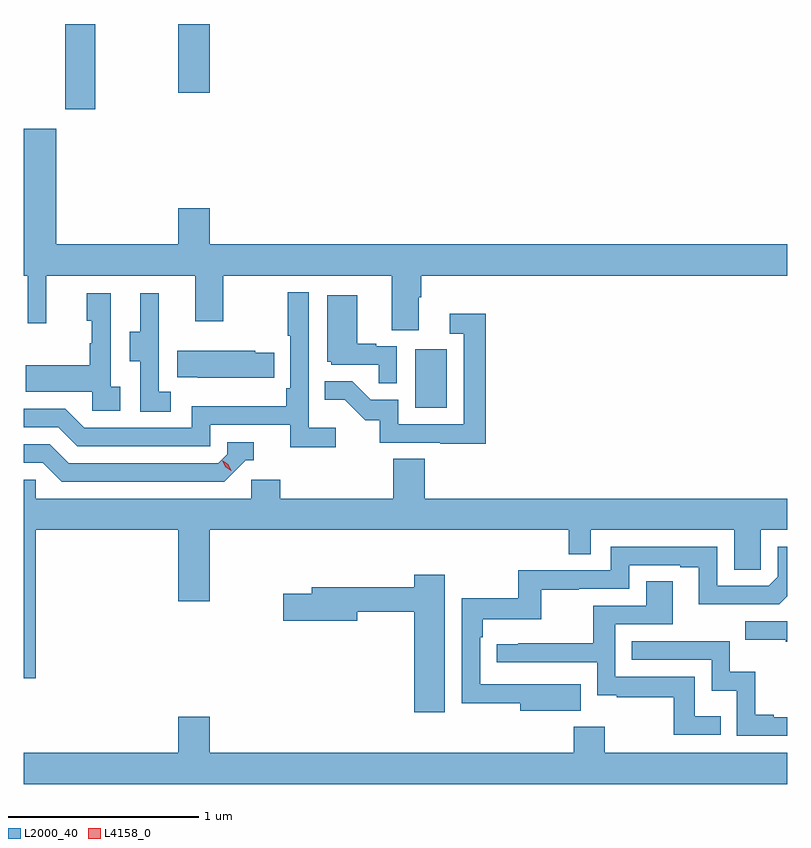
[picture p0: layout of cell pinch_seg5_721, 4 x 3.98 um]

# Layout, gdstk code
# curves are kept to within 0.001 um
import gdstk
lib = gdstk.Library(unit=1e-6, precision=1e-09)
def R(c, l, rs):  # rectangles x0, y0, x1, y1
    for r in rs: c.add(gdstk.rectangle(r[:2], r[2:], *l))
def P(c, l, *ps):  # polygons
    for p in ps: c.add(gdstk.Polygon(p, *l))
L2000_40 = (2000, 40)
L4158_0 = (4158, 0)

pinch_seg5_721 = lib.new_cell('pinch_seg5_721')
R(pinch_seg5_721, L2000_40, [(1113.302,850.74,1113.466,851.047), (1111.468,852.303,1111.623,852.751), (1112.06,852.39,1112.224,852.751)])
P(pinch_seg5_721, L2000_40, [(1113.319,851.32),(1113.332,851.32),(1113.332,851.432),(1115.25,851.432),(1115.25,851.596),(1112.224,851.596),(1112.224,851.785),(1112.06,851.785),(1112.06,851.596),(1111.42,851.596),(1111.42,852.202),(1111.25,852.202),(1111.25,851.432),(1111.269,851.432),(1111.269,851.184),(1111.367,851.184),(1111.367,851.432),(1112.147,851.432),(1112.147,851.193),(1112.295,851.193),(1112.295,851.432),(1113.179,851.432),(1113.179,851.146),(1113.319,851.146)],
  [(1112.884,850.636),(1112.742,850.636),(1112.742,851.344),(1112.634,851.344),(1112.634,851.116),(1112.646,851.116),(1112.646,850.843),(1112.626,850.843),(1112.626,850.747),(1112.13,850.747),(1112.13,850.635),(1111.566,850.635),(1111.467,850.734),(1111.25,850.734),(1111.25,850.638),(1111.43,850.638),(1111.529,850.539),(1112.226,850.539),(1112.226,850.65),(1112.645,850.65),(1112.645,850.534),(1112.884,850.534)],
  [(1112.02,850.823),(1111.956,850.823),(1111.956,851.127),(1111.958,851.127),(1111.958,851.341),(1111.859,851.341),(1111.859,851.139),(1111.805,851.139),(1111.805,850.984),(1111.86,850.984),(1111.86,850.72),(1112.02,850.72)],
  [(1111.756,850.85),(1111.704,850.85),(1111.704,851.341),(1111.58,851.341),(1111.58,851.196),(1111.606,851.196),(1111.606,851.078),(1111.596,851.078),(1111.596,850.963),(1111.261,850.963),(1111.261,850.823),(1111.608,850.823),(1111.608,850.725),(1111.756,850.725)],
  [(1113.204,851.061),(1113.098,851.061),(1113.098,851.074),(1112.998,851.074),(1112.998,851.329),(1112.84,851.329),(1112.84,850.98),(1112.862,850.98),(1112.862,850.965),(1113.109,850.965),(1113.109,850.867),(1113.204,850.867)],
  [(1113.671,851.233),(1113.483,851.233),(1113.483,851.127),(1113.555,851.127),(1113.555,850.653),(1113.213,850.653),(1113.213,850.782),(1113.069,850.782),(1112.971,850.88),(1112.827,850.88),(1112.827,850.781),(1112.931,850.781),(1113.038,850.674),(1113.115,850.674),(1113.115,850.557),(1113.433,850.557),(1113.433,850.552),(1113.671,850.552)],
  [(1112.561,851.028),(1112.463,851.028),(1112.463,851.038),(1112.053,851.038),(1112.053,850.901),(1112.161,850.901),(1112.161,850.898),(1112.561,850.898)],
  [(1112.412,850.464),(1112.455,850.464),(1112.455,850.56),(1112.316,850.56),(1112.316,850.497),(1112.268,850.449),(1111.485,850.449),(1111.386,850.548),(1111.25,850.548),(1111.25,850.452),(1111.349,850.452),(1111.448,850.353),(1112.301,850.353)],
  [(1111.313,850.1),(1112.06,850.1),(1112.06,849.726),(1112.224,849.726),(1112.224,850.1),(1114.105,850.1),(1114.105,849.973),(1114.221,849.973),(1114.221,850.1),(1114.973,850.1),(1114.973,849.892),(1115.112,849.892),(1115.112,850.1),(1115.25,850.1),(1115.25,850.264),(1113.35,850.264),(1113.35,850.472),(1113.185,850.472),(1113.185,850.264),(1112.594,850.264),(1112.594,850.362),(1112.442,850.362),(1112.442,850.264),(1111.311,850.264),(1111.311,850.362),(1111.25,850.362),(1111.25,849.321),(1111.313,849.321)],
  [(1114.169,849.292),(1113.642,849.291),(1113.642,849.536),(1113.656,849.536),(1113.656,849.632),(1113.961,849.632),(1113.961,849.787),(1114.157,849.787),(1114.157,849.792),(1114.422,849.792),(1114.422,849.915),(1114.691,849.915),(1114.691,849.903),(1114.787,849.903),(1114.787,849.71),(1115.208,849.711),(1115.25,849.753),(1115.25,850.011),(1115.202,850.011),(1115.202,849.855),(1115.154,849.807),(1114.884,849.807),(1114.884,850.011),(1114.326,850.011),(1114.326,849.888),(1113.84,849.888),(1113.84,849.742),(1113.546,849.742),(1113.546,849.19),(1113.851,849.19),(1113.851,849.152),(1114.169,849.152)],
  [(1113.457,849.865),(1113.296,849.865),(1113.296,849.799),(1112.759,849.799),(1112.759,849.765),(1112.61,849.765),(1112.61,849.623),(1112.998,849.623),(1112.998,849.67),(1113.296,849.67),(1113.296,849.144),(1113.457,849.144)],
  [(1114.901,849.124),(1114.767,849.124),(1114.767,849.33),(1114.35,849.33),(1114.35,849.606),(1114.651,849.606),(1114.651,849.83),(1114.511,849.83),(1114.511,849.702),(1114.234,849.702),(1114.234,849.506),(1113.841,849.506),(1113.841,849.501),(1113.729,849.501),(1113.729,849.405),(1114.254,849.405),(1114.254,849.233),(1114.357,849.233),(1114.357,849.222),(1114.656,849.222),(1114.656,849.027),(1114.901,849.027)],
  [(1115.25,849.621),(1115.031,849.621),(1115.031,849.524),(1115.244,849.524),(1115.244,849.513),(1115.25,849.513)],
  [(1115.25,849.117),(1115.179,849.117),(1115.179,849.13),(1115.083,849.13),(1115.083,849.355),(1114.95,849.355),(1114.95,849.516),(1114.435,849.516),(1114.435,849.42),(1114.854,849.42),(1114.854,849.257),(1114.986,849.257),(1114.986,849.021),(1115.25,849.021)],
  [(1115.25,848.932),(1114.293,848.932),(1114.293,849.067),(1114.133,849.067),(1114.133,848.932),(1112.224,848.932),(1112.224,849.121),(1112.06,849.121),(1112.06,848.932),(1111.25,848.932),(1111.25,848.768),(1115.25,848.768)])
P(pinch_seg5_721, L4158_0, [(1112.338,850.41),(1112.307,850.429),(1112.29,850.461),(1112.29,850.462),(1112.291,850.462),(1112.322,850.443),(1112.338,850.41),(1112.338,850.41)])

lib.write_gds('pinch_seg5_721.gds')
